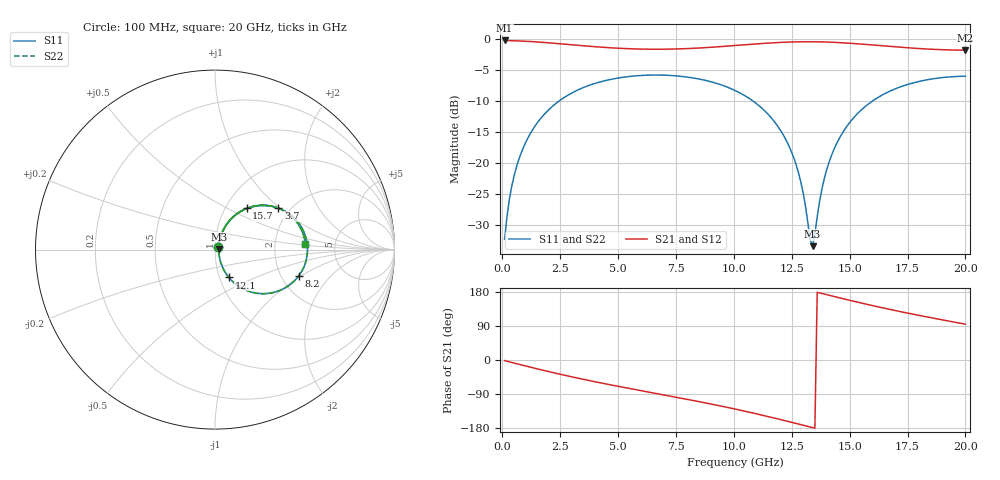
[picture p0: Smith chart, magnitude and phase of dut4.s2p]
! Touchstone file exported from HFSS 2026.1.0
!  File:  C:/ffzhzh/LocalFiles/Ansys_Project_Files/temp_val_TSV_RDL_4_1782975300_45568.aedt
!  Generated:  03:12:36 PM Jul  2, 2026
!  Design:  TSV_RDL
!  Project:  temp_val_TSV_RDL_4_1782975300_45568
! Variables:
!  h_bsmrdl = 3.6um
!  h_ox = 20um
!  h_rdl = 5um
!  h_sub = 99.54um
!  h_tmrdl = 2.4um
!  h_tsv = 99.54um
!  h_via = 3um
!  l_bsmrdl = 999.5um
!  l_sub = 4325.08um
!  l_tmrdl = 190.08um
!  m_sub = 200um
!  pitch = 56.1um
!  r_tsv = 5.65um
!  s_tmrdl = 10um
!  w_bsmrdl = 28.61um
!  w_sub = 500um
!  w_tmrdl = 26.81um
!  x_tsv_center1 = 203.485um
!  x_tsv_center2 = 1231.595um
!  x_tsv_center3 = 1448.485um
!  x_tsv_center4 = 2476.595um
!  x_tsv_center5 = 2693.485um
!  x_tsv_center6 = 3721.595um
# GHz S MA R 50.000000
! Terminal data exported
! Port[1] = TM_RDL1_1_T1
! Port[2] = TM_RDL5_1_T1
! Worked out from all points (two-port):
!   200 points, 100 MHz to 20 GHz, reference 50 ohm
!   highest |S21| = -0.16 dB at 100 MHz (marker M1); lowest = -1.7 dB at 20 GHz (marker M2)
!   |S21| within 3 dB of the highest: start of sweep to end of sweep
!   lowest |S11| = -33.5 dB at 13.4 GHz (marker M3), VSWR 1.04, Z = 52.1 + j0.272 ohm
!   |S11| at or under -10 dB: start of sweep to 2.441 GHz; 10.84 GHz to 15.97 GHz (5.135 GHz wide, 38.3 % of centre)
!   |S22| runs from -33.5 to -5.8 dB; largest |S21 - S12| = 1.7e-14
!   S11 on the Smith chart (normalised r, x): 100 MHz: 1.04, +0.03; 3.7 GHz: 1.74, +0.98; 8.2 GHz: 2.49, -0.95; 12.1 GHz: 1.11, -0.35; 15.7 GHz: 1.25, +0.63; 20 GHz: 3.01, +0.24
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0.1  0.02407 39.8  0.9818 -1.7  0.9818 -1.7  0.02407 39.8
! Gamma 0 0 0 0
! Port Impedance 50 0 50 0
0.3  0.05 61.8  0.9791 -4.8  0.9791 -4.8  0.05 61.8
0.5  0.07735 66.3  0.9763 -8.0  0.9763 -8.0  0.07735 66.3
1.1  0.1586 64.7  0.9651 -17.2  0.9651 -17.2  0.1586 64.7
2.1  0.2803 53.2  0.9364 -32.0  0.9364 -32.0  0.2803 53.2
3.5  0.4079 35.8  0.889 -51.0  0.889 -51.0  0.4079 35.8
3.7  0.4218 33.4  0.8827 -53.6  0.8827 -53.6  0.4218 33.4
6.8  0.5152 -1.8  0.8334 -90.1  0.8334 -90.1  0.5152 -1.8
8.2  0.4895 -17.3  0.8471 -106.3  0.8471 -106.3  0.4895 -17.3
10.1  0.3826 -39.7  0.8948 -130.1  0.8948 -130.1  0.3827 -39.7
11.2  0.279 -53.3  0.9273 -145.2  0.9273 -145.2  0.279 -53.3
12.1  0.1731 -63.6  0.9484 -158.5  0.9484 -158.5  0.1732 -63.6
12.8  0.08235 -66.1  0.9574 -169.1  0.9574 -169.1  0.08237 -66.2
13  0.05643 -62.0  0.9585 -172.2  0.9585 -172.2  0.05646 -62.1
13.3  0.02383 -26.4  0.9588 -176.8  0.9588 -176.8  0.02382 -26.5
13.4  0.02121 7.1  0.9585 -178.3  0.9585 -178.3  0.02117 7.0
13.8  0.06105 63.9  0.9557 175.5  0.9557 175.5  0.06101 63.9
14.2  0.1129 67.4  0.9502 169.5  0.9502 169.5  0.1128 67.4
14.8  0.1884 63.0  0.9375 160.5  0.9375 160.5  0.1884 63.0
15.7  0.2892 52.6  0.9117 147.5  0.9117 147.5  0.2892 52.6
16.7  0.3785 40.5  0.8798 134.0  0.8798 134.0  0.3785 40.5
20  0.5041 3.4  0.8191 94.5  0.8191 94.5  0.5041 3.3
